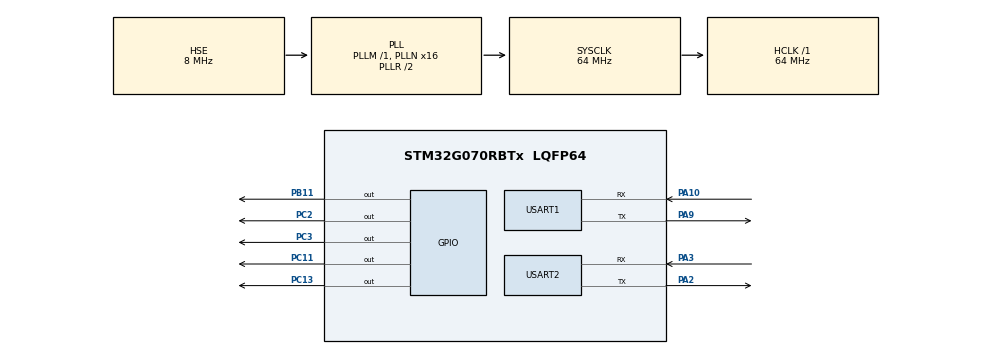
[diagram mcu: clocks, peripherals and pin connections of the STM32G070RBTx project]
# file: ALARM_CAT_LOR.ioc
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Mcu.Family=STM32G0
Mcu.Name=STM32G070RBTx
Mcu.Package=LQFP64
NVIC.TIM3_IRQn=true\:0\:0\:false\:false\:true\:true\:true
NVIC.USART1_IRQn=true\:0\:0\:false\:false\:true\:true\:true
NVIC.USART2_IRQn=true\:0\:0\:false\:false\:true\:true\:true
PA10.Mode=Asynchronous
PA10.Signal=USART1_RX
PA13.Mode=Serial_Wire
PA13.Signal=SYS_SWDIO
PA14-BOOT0.Mode=Serial_Wire
PA14-BOOT0.Signal=SYS_SWCLK
PA2.Mode=Asynchronous
PA2.Signal=USART2_TX
PA3.Mode=Asynchronous
PA3.Signal=USART2_RX
PA9.Mode=Asynchronous
PA9.Signal=USART1_TX
PB11.Signal=GPIO_Output
PC11.Signal=GPIO_Output
PC13.Signal=GPIO_Output
PC2.Signal=GPIO_Output
PC3.Signal=GPIO_Output
PF0-OSC_IN\ (PF0).Mode=HSE-External-Oscillator
PF0-OSC_IN\ (PF0).Signal=RCC_OSC_IN
PF1-OSC_OUT\ (PF1).Mode=HSE-External-Oscillator
PF1-OSC_OUT\ (PF1).Signal=RCC_OSC_OUT
ProjectManager.HeapSize=0x200
ProjectManager.StackSize=0x400
ProjectManager.TargetToolchain=MDK-ARM V5.27
RCC.ADCFreq_Value=64000000
RCC.AHBFreq_Value=64000000
RCC.CortexFreq_Value=64000000
RCC.EXTERNAL_CLOCK_VALUE=48000
RCC.HCLKFreq_Value=64000000
RCC.HSE_VALUE=8000000
RCC.HSI_VALUE=16000000
RCC.LSE_VALUE=32768
RCC.PLLN=16
RCC.PLLSourceVirtual=RCC_PLLSOURCE_HSE
RCC.SYSCLKFreq_VALUE=64000000
RCC.SYSCLKSource=RCC_SYSCLKSOURCE_PLLCLK
RCC.VCOOutputFreq_Value=128000000
TIM3.Period=10-1
TIM3.Prescaler=6400-1
USART1.VirtualMode-Asynchronous=VM_ASYNC
USART2.VirtualMode-Asynchronous=VM_ASYNC
VP_SYS_VS_DBSignals.Mode=DisableDeadBatterySignals
VP_TIM3_VS_ClockSourceINT.Mode=Internal
board=custom

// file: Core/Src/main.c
/* USER CODE BEGIN Header */
/**
  ******************************************************************************
  * @file           : main.c
  * @brief          : Main program body
  ******************************************************************************
  * @attention
  *
  * <h2><center>&copy; Copyright (c) 2022 STMicroelectronics.
  * All rights reserved.</center></h2>
  *
  * This software component is licensed by ST under BSD 3-Clause license,
  * the "License"; You may not use this file except in compliance with the
  * License. You may obtain a copy of the License at:
  *                        opensource.org/licenses/BSD-3-Clause
  *
  ******************************************************************************
  */
/* USER CODE END Header */
#include "main.h"
#include "tim.h"
#include "usart.h"
#include "gpio.h"

/* USER CODE BEGIN Includes */
#include "stdio.h"
#include "fat_core.h"
#include "lte_demo.h"
#include "string.h"

#include "to_pass.h"

#ifdef __GNUC__

  #define PUTCHAR_PROTOTYPE int __io_putchar(int ch)
#else
  #define PUTCHAR_PROTOTYPE int fputc(int ch, FILE *f)
#endif /* __GNUC__ */

PUTCHAR_PROTOTYPE
{
  	HAL_UART_Transmit( &huart1 , (uint8_t *)&ch, 1, 0xFFFF);
  return ch;
}
/* USER CODE END Includes */

/* USER CODE BEGIN PTD */
uint8_t aRxBuffer1[2];
uint8_t aRxBuffer2[2];
/* USER CODE END PTD */

void SystemClock_Config(void);
/* USER CODE BEGIN PFP */
void myitoa2(int value, char *string);
/* USER CODE END PFP */

int main(void)
{

  /* MCU Configuration--------------------------------------------------------*/

  /* Reset of all peripherals, Initializes the Flash interface and the Systick. */
  HAL_Init();

  /* Configure the system clock */
  SystemClock_Config();

  /* Initialize all configured peripherals */
  MX_GPIO_Init();
  MX_TIM3_Init();
  MX_USART1_UART_Init();
  MX_USART2_UART_Init();
  /* USER CODE BEGIN 2 */
//if (HAL_TIM_Base_Start_IT(&htim3) != HAL_OK)//启动TIM3,这个代码需要手动增加
//		 {
//			 while(1);
//		 }

HAL_TIM_Base_Start_IT(&htim3);
HAL_UART_Receive_IT(&huart1, aRxBuffer1, 1);//启动串口1中断
HAL_UART_Receive_IT(&huart2, aRxBuffer2, 1);//启动串口1中断

PWK_GPIO_SET_HIGH;

 reg_fat_uart_send_byte(uart2_send_byte);//注册串口

 PEN_GPIO_SET_HIGH;
  /* USER CODE END 2 */

  /* Infinite loop */
  /* USER CODE BEGIN WHILE */
  while (1)
  {
  //  excue_uart();
	 module_MQTT();

    /* USER CODE END WHILE */

  }
}

void SystemClock_Config(void)
{
  RCC_OscInitTypeDef RCC_OscInitStruct = {0};
  RCC_ClkInitTypeDef RCC_ClkInitStruct = {0};
  RCC_PeriphCLKInitTypeDef PeriphClkInit = {0};

  /** Configure the main internal regulator output voltage
  */
  HAL_PWREx_ControlVoltageScaling(PWR_REGULATOR_VOLTAGE_SCALE1);
  /** Initializes the RCC Oscillators according to the specified parameters
  * in the RCC_OscInitTypeDef structure.
  */
  RCC_OscInitStruct.OscillatorType = RCC_OSCILLATORTYPE_HSE;
  RCC_OscInitStruct.HSEState = RCC_HSE_ON;
  RCC_OscInitStruct.PLL.PLLState = RCC_PLL_ON;
  RCC_OscInitStruct.PLL.PLLSource = RCC_PLLSOURCE_HSE;
  RCC_OscInitStruct.PLL.PLLM = RCC_PLLM_DIV1;
  RCC_OscInitStruct.PLL.PLLN = 16;
  RCC_OscInitStruct.PLL.PLLP = RCC_PLLP_DIV2;
  RCC_OscInitStruct.PLL.PLLR = RCC_PLLR_DIV2;
  if (HAL_RCC_OscConfig(&RCC_OscInitStruct) != HAL_OK)
  {
    Error_Handler();
  }
  /** Initializes the CPU, AHB and APB buses clocks
  */
  RCC_ClkInitStruct.ClockType = RCC_CLOCKTYPE_HCLK|RCC_CLOCKTYPE_SYSCLK
                              |RCC_CLOCKTYPE_PCLK1;
  RCC_ClkInitStruct.SYSCLKSource = RCC_SYSCLKSOURCE_PLLCLK;
  RCC_ClkInitStruct.AHBCLKDivider = RCC_SYSCLK_DIV1;
  RCC_ClkInitStruct.APB1CLKDivider = RCC_HCLK_DIV1;

  if (HAL_RCC_ClockConfig(&RCC_ClkInitStruct, FLASH_LATENCY_2) != HAL_OK)
  {
    Error_Handler();
  }
  /** Initializes the peripherals clocks
  */
  PeriphClkInit.PeriphClockSelection = RCC_PERIPHCLK_USART1|RCC_PERIPHCLK_USART2;
  PeriphClkInit.Usart1ClockSelection = RCC_USART1CLKSOURCE_PCLK1;
  PeriphClkInit.Usart2ClockSelection = RCC_USART2CLKSOURCE_PCLK1;
  if (HAL_RCCEx_PeriphCLKConfig(&PeriphClkInit) != HAL_OK)
  {
    Error_Handler();
  }
}

/* USER CODE BEGIN 4 */

 void HAL_TIM_PeriodElapsedCallback(TIM_HandleTypeDef *htim)//时间回调函数1毫米
{

	static uint16_t TIMER_1MS;

  TIMER_1MS++;
  fat_tim_proc();

	if(TIMER_1MS>=100)
    {
		 LED2_T();
		 TIMER_1MS=0;

		}

	UNUSED(htim);//UNUSED(htim) ,这就是一个防报错的定义

}

//if (USART_GetITStatus(USART2, USART_IT_RXNE) != RESET) // 接收中断
//  {
//  	uint8_t ch = USART2->DR;
//		//if(AT_MODE)
//		//{
//		  fat_uart_recv_proc(ch);
//		//}
//		//else if(DTU_MODE)
//		//{
//
//		//}
//
//    USART_ClearFlag(USART2, USART_FLAG_RXNE); // 清除标志位
//  }

void HAL_UART_RxCpltCallback(UART_HandleTypeDef *huart)
{
  if(huart->Instance==USART2)
  {

	uint8_t ch = aRxBuffer2[0];
	fat_uart_recv_proc(ch);
    HAL_UART_Receive_IT(&huart2, aRxBuffer2, 1);//启动串口1中断

  }

}

/* USER CODE END 4 */

void Error_Handler(void)
{
  __disable_irq();
  while (1)
  {
  }
}

/************************ (C) COPYRIGHT STMicroelectronics *****END OF FILE****/

void myitoa2(int value, char *string)  //转换成整形转换成ASC码到dev_Buf

{
  uint8_t str[4];
  uint8_t i;

  str[0]=(value>>12)&0x0f;
  str[1]=(value>>8)&0x0f;
  str[2]=(value>>4)&0x0f;
  str[3]=value&0x0f;
  for(i=0;i<4;i++)
     {

	 if (str[i] < 10)
	   {
		 string[i] = str[i] + '0';
		}

	else
	   {
		string[i] = str[i] -10 +'a';
	   }

	 }
}
